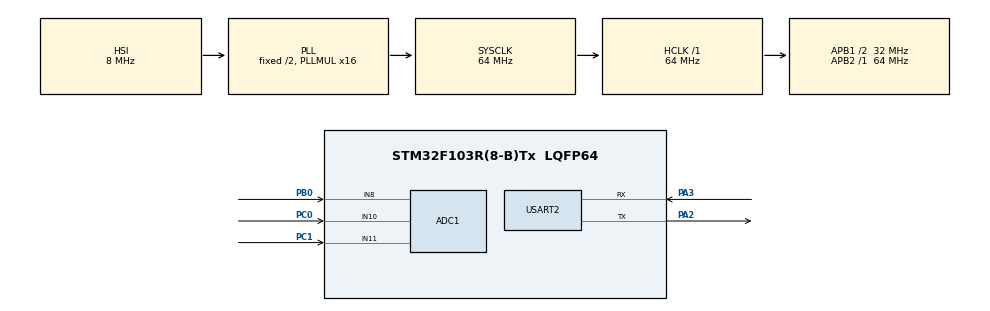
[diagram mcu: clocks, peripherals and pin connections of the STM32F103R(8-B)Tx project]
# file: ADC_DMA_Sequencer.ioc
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ADC1.Channel-0\#ChannelRegularConversion=ADC_CHANNEL_8
ADC1.Channel-1\#ChannelRegularConversion=ADC_CHANNEL_11
ADC1.Channel-2\#ChannelRegularConversion=ADC_CHANNEL_10
ADC1.ContinuousConvMode=ENABLE
ADC1.NbrOfConversion=3
ADC1.NbrOfConversionFlag=1
ADC1.Rank-0\#ChannelRegularConversion=1
ADC1.Rank-1\#ChannelRegularConversion=2
ADC1.Rank-2\#ChannelRegularConversion=3
ADC1.SamplingTime-0\#ChannelRegularConversion=ADC_SAMPLETIME_7CYCLES_5
ADC1.SamplingTime-1\#ChannelRegularConversion=ADC_SAMPLETIME_7CYCLES_5
ADC1.SamplingTime-2\#ChannelRegularConversion=ADC_SAMPLETIME_7CYCLES_5
ADC1.master=1
Dma.ADC1.0.Direction=DMA_PERIPH_TO_MEMORY
Dma.ADC1.0.Instance=DMA1_Channel1
Dma.ADC1.0.MemDataAlignment=DMA_MDATAALIGN_HALFWORD
Dma.ADC1.0.MemInc=DMA_MINC_ENABLE
Dma.ADC1.0.Mode=DMA_CIRCULAR
Dma.ADC1.0.PeriphDataAlignment=DMA_PDATAALIGN_HALFWORD
Dma.ADC1.0.PeriphInc=DMA_PINC_DISABLE
Dma.ADC1.0.Priority=DMA_PRIORITY_LOW
Dma.Request0=ADC1
Mcu.Family=STM32F1
Mcu.Name=STM32F103R(8-B)Tx
Mcu.Package=LQFP64
NVIC.DMA1_Channel1_IRQn=true\:0\:0\:false\:false\:true\:false\:true
NVIC.PriorityGroup=NVIC_PRIORITYGROUP_4
PA13.Mode=Serial_Wire
PA13.Signal=SYS_JTMS-SWDIO
PA14.Mode=Serial_Wire
PA14.Signal=SYS_JTCK-SWCLK
PA2.Mode=Asynchronous
PA2.Signal=USART2_TX
PA3.Mode=Asynchronous
PA3.Signal=USART2_RX
PB0.Signal=ADCx_IN8
PC0.Signal=ADCx_IN10
PC1.Signal=ADCx_IN11
ProjectManager.HeapSize=0x200
ProjectManager.StackSize=0x400
ProjectManager.TargetToolchain=STM32CubeIDE
RCC.ADCPresc=RCC_ADCPCLK2_DIV8
RCC.AHBFreq_Value=64000000
RCC.APB1CLKDivider=RCC_HCLK_DIV2
RCC.APB1Freq_Value=32000000
RCC.APB1TimFreq_Value=64000000
RCC.APB2Freq_Value=64000000
RCC.APB2TimFreq_Value=64000000
RCC.HCLKFreq_Value=64000000
RCC.PLLMUL=RCC_PLL_MUL16
RCC.SYSCLKFreq_VALUE=64000000
RCC.SYSCLKSource=RCC_SYSCLKSOURCE_PLLCLK
RCC.USBFreq_Value=64000000
SH.ADCx_IN10.0=ADC1_IN10,IN10
SH.ADCx_IN11.0=ADC1_IN11,IN11
SH.ADCx_IN8.0=ADC1_IN8,IN8
USART2.VirtualMode=VM_ASYNC
board=custom

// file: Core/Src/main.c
/* USER CODE BEGIN Header */
/**
  ******************************************************************************
  * @file           : main.c
  * @brief          : Main program body
  ******************************************************************************
  * @attention
  *
  * <h2><center>&copy; Copyright (c) 2020 STMicroelectronics.
  * All rights reserved.</center></h2>
  *
  * This software component is licensed by ST under BSD 3-Clause license,
  * the "License"; You may not use this file except in compliance with the
  * License. You may obtain a copy of the License at:
  *                        opensource.org/licenses/BSD-3-Clause
  *
  ******************************************************************************
  */
/* USER CODE END Header */

#include "main.h"

/* USER CODE BEGIN Includes */
#include <stdio.h>
/* USER CODE END Includes */

ADC_HandleTypeDef hadc1;
DMA_HandleTypeDef hdma_adc1;

UART_HandleTypeDef huart2;

/* USER CODE BEGIN PV */
volatile uint16_t uwADCxConvertedValue[3];
/* USER CODE END PV */

void SystemClock_Config(void);
static void MX_GPIO_Init(void);
static void MX_DMA_Init(void);
static void MX_ADC1_Init(void);
static void MX_USART2_UART_Init(void);
/* USER CODE BEGIN PFP */
#ifdef __GNUC__
#define PUTCHAR_PROTOTYPE int __io_putchar(int ch)
#else
#define PUTCHAR_PROTOTYPE int fputc(int ch, FILE *f)
#endif /* __GNUC__ */

/**
  * @brief  Retargets the C library printf function to the USART.
  * @param  None
  * @retval None
  */
PUTCHAR_PROTOTYPE
{
  /* Place your implementation of fputc here */
  /* e.g. write a character to the UART2 and Loop until the end of transmission */
  if (ch == '\n')
    HAL_UART_Transmit (&huart2, (uint8_t*) "\r", 1, 0xFFFF);
  HAL_UART_Transmit (&huart2, (uint8_t*) &ch, 1, 0xFFFF);

  return ch;
}
/* USER CODE END PFP */

int main(void)
{

  /* MCU Configuration--------------------------------------------------------*/

  /* Reset of all peripherals, Initializes the Flash interface and the Systick. */
  HAL_Init();

  /* Configure the system clock */
  SystemClock_Config();

  /* Initialize all configured peripherals */
  MX_GPIO_Init();
  MX_DMA_Init();
  MX_ADC1_Init();
  MX_USART2_UART_Init();

  /* Infinite loop */
  /* USER CODE BEGIN WHILE */
  /* ### - 1 - Initialize ADC peripheral(CubeMX ?��?�� ?��?��) ##################### */

  /* ### - 2 - Start calibration ############################################ */
  if (HAL_ADCEx_Calibration_Start (&hadc1) != HAL_OK)
    {
      Error_Handler ();
    }

  /* ### - 3 - Channel configuration (MX_ADC1_Init() 처리) ################### */

  /* ### - 4 - Start conversion in DMA mode ################################# */
  if (HAL_ADC_Start_DMA (&hadc1, (uint32_t*) &uwADCxConvertedValue, 3) != HAL_OK)
    {
      /* Start Conversation Error */
      Error_Handler ();
    }

  while (1)
  {
      printf ("X=%4d, Y=%4d, Z=%4d\n", uwADCxConvertedValue[0],
              uwADCxConvertedValue[1], uwADCxConvertedValue[2]);
      HAL_Delay (100);
    /* USER CODE END WHILE */

  }
}

void SystemClock_Config(void)
{
  RCC_OscInitTypeDef RCC_OscInitStruct = {0};
  RCC_ClkInitTypeDef RCC_ClkInitStruct = {0};
  RCC_PeriphCLKInitTypeDef PeriphClkInit = {0};

  /** Initializes the CPU, AHB and APB busses clocks
  */
  RCC_OscInitStruct.OscillatorType = RCC_OSCILLATORTYPE_HSI;
  RCC_OscInitStruct.HSIState = RCC_HSI_ON;
  RCC_OscInitStruct.HSICalibrationValue = RCC_HSICALIBRATION_DEFAULT;
  RCC_OscInitStruct.PLL.PLLState = RCC_PLL_ON;
  RCC_OscInitStruct.PLL.PLLSource = RCC_PLLSOURCE_HSI_DIV2;
  RCC_OscInitStruct.PLL.PLLMUL = RCC_PLL_MUL16;
  if (HAL_RCC_OscConfig(&RCC_OscInitStruct) != HAL_OK)
  {
    Error_Handler();
  }
  /** Initializes the CPU, AHB and APB busses clocks
  */
  RCC_ClkInitStruct.ClockType = RCC_CLOCKTYPE_HCLK|RCC_CLOCKTYPE_SYSCLK
                              |RCC_CLOCKTYPE_PCLK1|RCC_CLOCKTYPE_PCLK2;
  RCC_ClkInitStruct.SYSCLKSource = RCC_SYSCLKSOURCE_PLLCLK;
  RCC_ClkInitStruct.AHBCLKDivider = RCC_SYSCLK_DIV1;
  RCC_ClkInitStruct.APB1CLKDivider = RCC_HCLK_DIV2;
  RCC_ClkInitStruct.APB2CLKDivider = RCC_HCLK_DIV1;

  if (HAL_RCC_ClockConfig(&RCC_ClkInitStruct, FLASH_LATENCY_2) != HAL_OK)
  {
    Error_Handler();
  }
  PeriphClkInit.PeriphClockSelection = RCC_PERIPHCLK_ADC;
  PeriphClkInit.AdcClockSelection = RCC_ADCPCLK2_DIV8;
  if (HAL_RCCEx_PeriphCLKConfig(&PeriphClkInit) != HAL_OK)
  {
    Error_Handler();
  }
}

static void MX_ADC1_Init(void)
{

  ADC_ChannelConfTypeDef sConfig = {0};

  /** Common config
  */
  hadc1.Instance = ADC1;
  hadc1.Init.ScanConvMode = ADC_SCAN_ENABLE;
  hadc1.Init.ContinuousConvMode = ENABLE;
  hadc1.Init.DiscontinuousConvMode = DISABLE;
  hadc1.Init.ExternalTrigConv = ADC_SOFTWARE_START;
  hadc1.Init.DataAlign = ADC_DATAALIGN_RIGHT;
  hadc1.Init.NbrOfConversion = 3;
  if (HAL_ADC_Init(&hadc1) != HAL_OK)
  {
    Error_Handler();
  }
  /** Configure Regular Channel
  */
  sConfig.Channel = ADC_CHANNEL_8;
  sConfig.Rank = ADC_REGULAR_RANK_1;
  sConfig.SamplingTime = ADC_SAMPLETIME_7CYCLES_5;
  if (HAL_ADC_ConfigChannel(&hadc1, &sConfig) != HAL_OK)
  {
    Error_Handler();
  }
  /** Configure Regular Channel
  */
  sConfig.Channel = ADC_CHANNEL_11;
  sConfig.Rank = ADC_REGULAR_RANK_2;
  if (HAL_ADC_ConfigChannel(&hadc1, &sConfig) != HAL_OK)
  {
    Error_Handler();
  }
  /** Configure Regular Channel
  */
  sConfig.Channel = ADC_CHANNEL_10;
  sConfig.Rank = ADC_REGULAR_RANK_3;
  if (HAL_ADC_ConfigChannel(&hadc1, &sConfig) != HAL_OK)
  {
    Error_Handler();
  }

}

static void MX_USART2_UART_Init(void)
{

  huart2.Instance = USART2;
  huart2.Init.BaudRate = 115200;
  huart2.Init.WordLength = UART_WORDLENGTH_8B;
  huart2.Init.StopBits = UART_STOPBITS_1;
  huart2.Init.Parity = UART_PARITY_NONE;
  huart2.Init.Mode = UART_MODE_TX_RX;
  huart2.Init.HwFlowCtl = UART_HWCONTROL_NONE;
  huart2.Init.OverSampling = UART_OVERSAMPLING_16;
  if (HAL_UART_Init(&huart2) != HAL_OK)
  {
    Error_Handler();
  }

}

static void MX_DMA_Init(void)
{

  /* DMA controller clock enable */
  __HAL_RCC_DMA1_CLK_ENABLE();

  /* DMA interrupt init */
  /* DMA1_Channel1_IRQn interrupt configuration */
  HAL_NVIC_SetPriority(DMA1_Channel1_IRQn, 0, 0);
  HAL_NVIC_EnableIRQ(DMA1_Channel1_IRQn);

}

static void MX_GPIO_Init(void)
{

  /* GPIO Ports Clock Enable */
  __HAL_RCC_GPIOC_CLK_ENABLE();
  __HAL_RCC_GPIOA_CLK_ENABLE();
  __HAL_RCC_GPIOB_CLK_ENABLE();

}

void Error_Handler(void)
{
}

/************************ (C) COPYRIGHT STMicroelectronics *****END OF FILE****/
